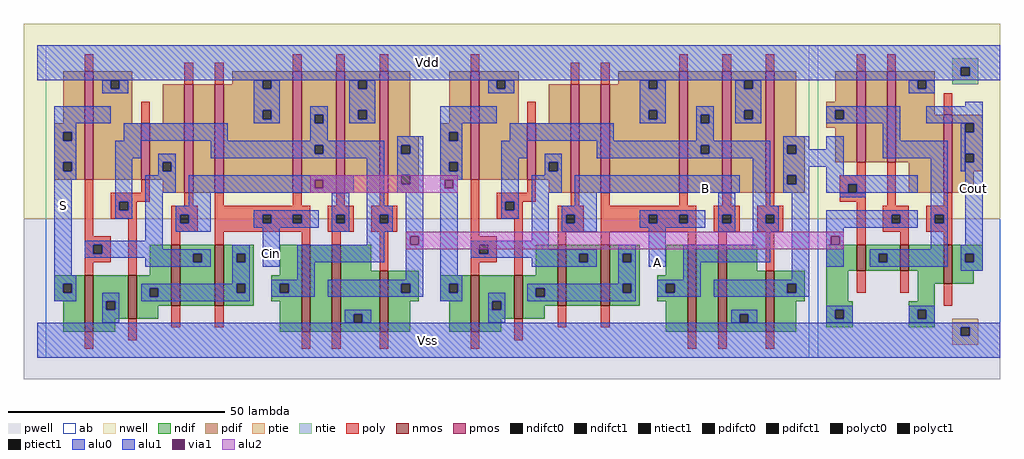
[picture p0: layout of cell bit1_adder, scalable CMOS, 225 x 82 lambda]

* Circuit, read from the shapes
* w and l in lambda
.subckt bit1_adder A B Cin Cout S Vdd Vss
M1 Vss n1 S Vss nfet w=13 l=2
M2 n2 n3 Vss Vss nfet w=10 l=2
M3 n1 n4 n2 Vss nfet w=14 l=2
M4 n2 Cin n1 Vss nfet w=14 l=2
M5 n5 Cin n3 Vss nfet w=20 l=2
M6 Vss n4 n5 Vss nfet w=20 l=2
M7 n6 n3 Vss Vss nfet w=14 l=2
M8 Vss n7 n4 Vss nfet w=13 l=2
M9 n8 n9 Vss Vss nfet w=10 l=2
M10 n7 B n8 Vss nfet w=14 l=2
M11 n8 A n7 Vss nfet w=14 l=2
M12 n10 A n9 Vss nfet w=20 l=2
M13 Vss B n10 Vss nfet w=20 l=2
M14 n11 n9 Vss Vss nfet w=14 l=2
M15 n12 n11 Vss Vss nfet w=6 l=2
M16 Vss n6 n12 Vss nfet w=6 l=2
M17 Cout n12 Vss Vss nfet w=9 l=2
M18 Vdd n1 S Vdd pfet w=25 l=2
M19 n1 n3 Vdd Vdd pfet w=13 l=2
M20 n13 n4 n1 Vdd pfet w=25 l=2
M21 Vdd Cin n13 Vdd pfet w=25 l=2
M22 n3 Cin Vdd Vdd pfet w=28 l=2
M23 Vdd n4 n3 Vdd pfet w=28 l=2
M24 n6 n3 Vdd Vdd pfet w=28 l=2
M25 Vdd n7 n4 Vdd pfet w=25 l=2
M26 n7 n9 Vdd Vdd pfet w=13 l=2
M27 n14 B n7 Vdd pfet w=25 l=2
M28 Vdd A n14 Vdd pfet w=25 l=2
M29 n9 A Vdd Vdd pfet w=28 l=2
M30 Vdd B n9 Vdd pfet w=28 l=2
M31 n11 n9 Vdd Vdd pfet w=28 l=2
M32 n15 n11 n12 Vdd pfet w=21 l=2
M33 Vdd n6 n15 Vdd pfet w=21 l=2
M34 Cout n12 Vdd Vdd pfet w=18 l=2
.ends

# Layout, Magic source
magic
tech scmos
<< ab >>
rect 5 5 181 77
rect 183 5 225 77
<< nwell >>
rect 0 37 225 82
<< pwell >>
rect 0 0 225 37
<< poly >>
rect 14 71 16 75
rect 37 68 39 73
rect 44 68 46 73
rect 62 71 64 75
rect 72 71 74 75
rect 82 71 84 75
rect 103 71 105 75
rect 27 59 29 64
rect 14 33 16 46
rect 27 43 29 46
rect 126 68 128 73
rect 133 68 135 73
rect 151 71 153 75
rect 161 71 163 75
rect 171 71 173 75
rect 192 71 194 75
rect 199 71 201 75
rect 116 59 118 64
rect 20 41 29 43
rect 20 39 22 41
rect 24 39 26 41
rect 37 40 39 43
rect 44 40 46 43
rect 62 40 64 43
rect 72 40 74 43
rect 82 40 84 43
rect 20 37 26 39
rect 14 31 20 33
rect 14 29 16 31
rect 18 29 20 31
rect 14 27 20 29
rect 14 24 16 27
rect 24 24 26 37
rect 34 38 40 40
rect 34 36 36 38
rect 38 36 40 38
rect 34 34 40 36
rect 44 38 66 40
rect 44 36 55 38
rect 57 36 62 38
rect 64 36 66 38
rect 44 34 66 36
rect 70 38 76 40
rect 70 36 72 38
rect 74 36 76 38
rect 70 34 76 36
rect 80 38 86 40
rect 80 36 82 38
rect 84 36 86 38
rect 80 34 86 36
rect 34 31 36 34
rect 44 31 46 34
rect 64 31 66 34
rect 71 31 73 34
rect 14 7 16 11
rect 24 9 26 14
rect 34 12 36 17
rect 44 12 46 17
rect 82 25 84 34
rect 103 33 105 46
rect 116 43 118 46
rect 212 61 214 66
rect 192 47 194 50
rect 188 45 194 47
rect 188 43 190 45
rect 192 43 194 45
rect 109 41 118 43
rect 109 39 111 41
rect 113 39 115 41
rect 126 40 128 43
rect 133 40 135 43
rect 151 40 153 43
rect 161 40 163 43
rect 171 40 173 43
rect 188 41 194 43
rect 109 37 115 39
rect 103 31 109 33
rect 103 29 105 31
rect 107 29 109 31
rect 103 27 109 29
rect 103 24 105 27
rect 113 24 115 37
rect 123 38 129 40
rect 123 36 125 38
rect 127 36 129 38
rect 123 34 129 36
rect 133 38 155 40
rect 133 36 144 38
rect 146 36 151 38
rect 153 36 155 38
rect 133 34 155 36
rect 159 38 165 40
rect 159 36 161 38
rect 163 36 165 38
rect 159 34 165 36
rect 169 38 175 40
rect 169 36 171 38
rect 173 36 175 38
rect 169 34 175 36
rect 123 31 125 34
rect 133 31 135 34
rect 153 31 155 34
rect 160 31 162 34
rect 64 7 66 11
rect 71 7 73 11
rect 82 7 84 11
rect 103 7 105 11
rect 113 9 115 14
rect 123 12 125 17
rect 133 12 135 17
rect 171 25 173 34
rect 192 31 194 41
rect 199 40 201 50
rect 212 40 214 43
rect 198 38 204 40
rect 198 36 200 38
rect 202 36 204 38
rect 198 34 204 36
rect 208 38 214 40
rect 208 36 210 38
rect 212 36 214 38
rect 208 34 214 36
rect 202 31 204 34
rect 212 31 214 34
rect 192 20 194 25
rect 202 20 204 25
rect 212 17 214 22
rect 153 7 155 11
rect 160 7 162 11
rect 171 7 173 11
<< ndif >>
rect 29 24 34 31
rect 7 22 14 24
rect 7 20 9 22
rect 11 20 14 22
rect 7 18 14 20
rect 9 11 14 18
rect 16 18 24 24
rect 16 16 19 18
rect 21 16 24 18
rect 16 14 24 16
rect 26 21 34 24
rect 26 19 29 21
rect 31 19 34 21
rect 26 17 34 19
rect 36 29 44 31
rect 36 27 39 29
rect 41 27 44 29
rect 36 17 44 27
rect 46 29 53 31
rect 46 27 49 29
rect 51 27 53 29
rect 46 22 53 27
rect 59 24 64 31
rect 46 20 49 22
rect 51 20 53 22
rect 46 17 53 20
rect 57 22 64 24
rect 57 20 59 22
rect 61 20 64 22
rect 57 18 64 20
rect 26 14 31 17
rect 16 11 21 14
rect 59 11 64 18
rect 66 11 71 31
rect 73 25 80 31
rect 73 15 82 25
rect 73 13 76 15
rect 78 13 82 15
rect 73 11 82 13
rect 84 22 91 25
rect 118 24 123 31
rect 84 20 87 22
rect 89 20 91 22
rect 84 18 91 20
rect 96 22 103 24
rect 96 20 98 22
rect 100 20 103 22
rect 96 18 103 20
rect 84 11 89 18
rect 98 11 103 18
rect 105 18 113 24
rect 105 16 108 18
rect 110 16 113 18
rect 105 14 113 16
rect 115 21 123 24
rect 115 19 118 21
rect 120 19 123 21
rect 115 17 123 19
rect 125 29 133 31
rect 125 27 128 29
rect 130 27 133 29
rect 125 17 133 27
rect 135 29 142 31
rect 135 27 138 29
rect 140 27 142 29
rect 135 22 142 27
rect 148 24 153 31
rect 135 20 138 22
rect 140 20 142 22
rect 135 17 142 20
rect 146 22 153 24
rect 146 20 148 22
rect 150 20 153 22
rect 146 18 153 20
rect 115 14 120 17
rect 105 11 110 14
rect 148 11 153 18
rect 155 11 160 31
rect 162 25 169 31
rect 185 25 192 31
rect 194 29 202 31
rect 194 27 197 29
rect 199 27 202 29
rect 194 25 202 27
rect 204 25 212 31
rect 162 15 171 25
rect 162 13 165 15
rect 167 13 171 15
rect 162 11 171 13
rect 173 22 180 25
rect 173 20 176 22
rect 178 20 180 22
rect 173 18 180 20
rect 185 18 190 25
rect 206 22 212 25
rect 214 29 221 31
rect 214 27 217 29
rect 219 27 221 29
rect 214 25 221 27
rect 214 22 219 25
rect 206 18 210 22
rect 173 11 178 18
rect 185 16 191 18
rect 185 14 187 16
rect 189 14 191 16
rect 185 12 191 14
rect 204 16 210 18
rect 204 14 206 16
rect 208 14 210 16
rect 204 12 210 14
<< pdif >>
rect 9 59 14 71
rect 7 57 14 59
rect 7 55 9 57
rect 11 55 14 57
rect 7 50 14 55
rect 7 48 9 50
rect 11 48 14 50
rect 7 46 14 48
rect 16 69 25 71
rect 16 67 20 69
rect 22 67 25 69
rect 48 69 62 71
rect 48 68 55 69
rect 16 59 25 67
rect 32 59 37 68
rect 16 46 27 59
rect 29 50 37 59
rect 29 48 32 50
rect 34 48 37 50
rect 29 46 37 48
rect 32 43 37 46
rect 39 43 44 68
rect 46 67 55 68
rect 57 67 62 69
rect 46 62 62 67
rect 46 60 55 62
rect 57 60 62 62
rect 46 43 62 60
rect 64 61 72 71
rect 64 59 67 61
rect 69 59 72 61
rect 64 54 72 59
rect 64 52 67 54
rect 69 52 72 54
rect 64 43 72 52
rect 74 69 82 71
rect 74 67 77 69
rect 79 67 82 69
rect 74 62 82 67
rect 74 60 77 62
rect 79 60 82 62
rect 74 43 82 60
rect 84 56 89 71
rect 98 59 103 71
rect 96 57 103 59
rect 84 54 91 56
rect 84 52 87 54
rect 89 52 91 54
rect 84 47 91 52
rect 84 45 87 47
rect 89 45 91 47
rect 96 55 98 57
rect 100 55 103 57
rect 96 50 103 55
rect 96 48 98 50
rect 100 48 103 50
rect 96 46 103 48
rect 105 69 114 71
rect 105 67 109 69
rect 111 67 114 69
rect 137 69 151 71
rect 137 68 144 69
rect 105 59 114 67
rect 121 59 126 68
rect 105 46 116 59
rect 118 50 126 59
rect 118 48 121 50
rect 123 48 126 50
rect 118 46 126 48
rect 84 43 91 45
rect 121 43 126 46
rect 128 43 133 68
rect 135 67 144 68
rect 146 67 151 69
rect 135 62 151 67
rect 135 60 144 62
rect 146 60 151 62
rect 135 43 151 60
rect 153 61 161 71
rect 153 59 156 61
rect 158 59 161 61
rect 153 54 161 59
rect 153 52 156 54
rect 158 52 161 54
rect 153 43 161 52
rect 163 69 171 71
rect 163 67 166 69
rect 168 67 171 69
rect 163 62 171 67
rect 163 60 166 62
rect 168 60 171 62
rect 163 43 171 60
rect 173 56 178 71
rect 187 64 192 71
rect 185 62 192 64
rect 185 60 187 62
rect 189 60 192 62
rect 185 58 192 60
rect 173 54 180 56
rect 173 52 176 54
rect 178 52 180 54
rect 173 47 180 52
rect 187 50 192 58
rect 194 50 199 71
rect 201 69 210 71
rect 201 67 206 69
rect 208 67 210 69
rect 201 61 210 67
rect 201 50 212 61
rect 173 45 176 47
rect 178 45 180 47
rect 173 43 180 45
rect 204 43 212 50
rect 214 59 221 61
rect 214 57 217 59
rect 219 57 221 59
rect 214 52 221 57
rect 214 50 217 52
rect 219 50 221 52
rect 214 48 221 50
rect 214 43 219 48
<< alu1 >>
rect 3 72 225 77
rect 3 70 216 72
rect 218 70 225 72
rect 3 69 225 70
rect 7 59 20 63
rect 96 59 109 63
rect 217 63 221 64
rect 208 59 221 63
rect 7 57 12 59
rect 7 55 9 57
rect 11 55 12 57
rect 96 57 101 59
rect 7 50 12 55
rect 7 48 9 50
rect 11 48 12 50
rect 7 46 12 48
rect 7 24 11 46
rect 38 46 76 47
rect 38 44 67 46
rect 69 44 76 46
rect 38 43 76 44
rect 38 40 43 43
rect 35 38 43 40
rect 35 36 36 38
rect 38 36 43 38
rect 35 34 43 36
rect 53 38 68 39
rect 53 36 55 38
rect 57 36 62 38
rect 64 36 68 38
rect 53 35 68 36
rect 7 22 12 24
rect 55 26 59 35
rect 86 54 92 56
rect 86 52 87 54
rect 89 52 92 54
rect 86 47 92 52
rect 86 45 87 47
rect 89 45 92 47
rect 86 43 92 45
rect 88 33 92 43
rect 88 31 89 33
rect 91 31 92 33
rect 88 23 92 31
rect 7 20 9 22
rect 11 20 12 22
rect 7 18 12 20
rect 70 22 92 23
rect 70 20 87 22
rect 89 20 92 22
rect 70 19 92 20
rect 96 55 98 57
rect 100 55 101 57
rect 96 50 101 55
rect 96 48 98 50
rect 100 48 101 50
rect 96 46 101 48
rect 96 44 97 46
rect 99 44 100 46
rect 96 24 100 44
rect 127 43 165 47
rect 127 40 132 43
rect 124 38 132 40
rect 124 36 125 38
rect 127 36 132 38
rect 124 34 132 36
rect 142 38 157 39
rect 142 36 144 38
rect 146 36 151 38
rect 153 36 157 38
rect 142 35 157 36
rect 96 22 101 24
rect 144 26 148 35
rect 175 54 181 56
rect 175 52 176 54
rect 178 53 181 54
rect 185 53 189 56
rect 178 52 189 53
rect 175 49 189 52
rect 175 47 181 49
rect 175 45 176 47
rect 178 45 181 47
rect 175 43 181 45
rect 185 47 189 49
rect 185 45 206 47
rect 185 43 190 45
rect 192 43 206 45
rect 177 23 181 43
rect 185 38 206 39
rect 185 36 200 38
rect 202 36 206 38
rect 185 35 206 36
rect 219 57 221 59
rect 217 52 221 57
rect 219 50 221 52
rect 185 33 189 35
rect 185 31 186 33
rect 188 31 189 33
rect 185 26 189 31
rect 217 31 221 50
rect 216 29 221 31
rect 216 27 217 29
rect 219 27 221 29
rect 216 25 221 27
rect 96 20 98 22
rect 100 20 101 22
rect 96 18 101 20
rect 159 22 181 23
rect 159 20 176 22
rect 178 20 181 22
rect 159 19 181 20
rect 3 12 225 13
rect 3 10 216 12
rect 218 10 225 12
rect 3 5 225 10
<< alu2 >>
rect 66 46 100 47
rect 66 44 67 46
rect 69 44 97 46
rect 99 44 100 46
rect 66 43 100 44
rect 88 33 189 34
rect 88 31 89 33
rect 91 31 186 33
rect 188 31 189 33
rect 88 30 189 31
<< ptie >>
rect 214 12 220 14
rect 214 10 216 12
rect 218 10 220 12
rect 214 8 220 10
<< ntie >>
rect 214 72 220 74
rect 214 70 216 72
rect 218 70 220 72
rect 214 68 220 70
<< nmos >>
rect 14 11 16 24
rect 24 14 26 24
rect 34 17 36 31
rect 44 17 46 31
rect 64 11 66 31
rect 71 11 73 31
rect 82 11 84 25
rect 103 11 105 24
rect 113 14 115 24
rect 123 17 125 31
rect 133 17 135 31
rect 153 11 155 31
rect 160 11 162 31
rect 192 25 194 31
rect 202 25 204 31
rect 171 11 173 25
rect 212 22 214 31
<< pmos >>
rect 14 46 16 71
rect 27 46 29 59
rect 37 43 39 68
rect 44 43 46 68
rect 62 43 64 71
rect 72 43 74 71
rect 82 43 84 71
rect 103 46 105 71
rect 116 46 118 59
rect 126 43 128 68
rect 133 43 135 68
rect 151 43 153 71
rect 161 43 163 71
rect 171 43 173 71
rect 192 50 194 71
rect 199 50 201 71
rect 212 43 214 61
<< polyct0 >>
rect 22 39 24 41
rect 16 29 18 31
rect 72 36 74 38
rect 82 36 84 38
rect 111 39 113 41
rect 105 29 107 31
rect 161 36 163 38
rect 171 36 173 38
rect 210 36 212 38
<< polyct1 >>
rect 36 36 38 38
rect 55 36 57 38
rect 62 36 64 38
rect 190 43 192 45
rect 125 36 127 38
rect 144 36 146 38
rect 151 36 153 38
rect 200 36 202 38
<< ndifct0 >>
rect 19 16 21 18
rect 29 19 31 21
rect 39 27 41 29
rect 49 27 51 29
rect 49 20 51 22
rect 59 20 61 22
rect 76 13 78 15
rect 108 16 110 18
rect 118 19 120 21
rect 128 27 130 29
rect 138 27 140 29
rect 138 20 140 22
rect 148 20 150 22
rect 197 27 199 29
rect 165 13 167 15
rect 187 14 189 16
rect 206 14 208 16
<< ndifct1 >>
rect 9 20 11 22
rect 87 20 89 22
rect 98 20 100 22
rect 176 20 178 22
rect 217 27 219 29
<< ntiect1 >>
rect 216 70 218 72
<< ptiect1 >>
rect 216 10 218 12
<< pdifct0 >>
rect 20 67 22 69
rect 32 48 34 50
rect 55 67 57 69
rect 55 60 57 62
rect 67 59 69 61
rect 67 52 69 54
rect 77 67 79 69
rect 77 60 79 62
rect 109 67 111 69
rect 121 48 123 50
rect 144 67 146 69
rect 144 60 146 62
rect 156 59 158 61
rect 156 52 158 54
rect 166 67 168 69
rect 166 60 168 62
rect 187 60 189 62
rect 206 67 208 69
<< pdifct1 >>
rect 9 55 11 57
rect 9 48 11 50
rect 87 52 89 54
rect 87 45 89 47
rect 98 55 100 57
rect 98 48 100 50
rect 176 52 178 54
rect 176 45 178 47
rect 217 57 219 59
rect 217 50 219 52
<< alu0 >>
rect 18 67 20 69
rect 22 67 24 69
rect 18 66 24 67
rect 53 67 55 69
rect 57 67 59 69
rect 53 62 59 67
rect 75 67 77 69
rect 79 67 81 69
rect 53 60 55 62
rect 57 60 59 62
rect 53 59 59 60
rect 66 61 70 63
rect 66 59 67 61
rect 69 59 70 61
rect 75 62 81 67
rect 107 67 109 69
rect 111 67 113 69
rect 107 66 113 67
rect 142 67 144 69
rect 146 67 148 69
rect 75 60 77 62
rect 79 60 81 62
rect 75 59 81 60
rect 142 62 148 67
rect 164 67 166 69
rect 168 67 170 69
rect 142 60 144 62
rect 146 60 148 62
rect 142 59 148 60
rect 155 61 159 63
rect 155 59 156 61
rect 158 59 159 61
rect 164 62 170 67
rect 204 67 206 69
rect 208 67 210 69
rect 204 66 210 67
rect 164 60 166 62
rect 168 60 170 62
rect 164 59 170 60
rect 185 62 202 63
rect 185 60 187 62
rect 189 60 202 62
rect 185 59 202 60
rect 23 55 47 59
rect 66 55 70 59
rect 21 51 27 55
rect 43 54 83 55
rect 43 52 67 54
rect 69 52 83 54
rect 21 41 25 51
rect 31 50 35 52
rect 43 51 83 52
rect 31 48 32 50
rect 34 48 35 50
rect 31 47 35 48
rect 21 39 22 41
rect 24 39 25 41
rect 21 37 25 39
rect 28 43 35 47
rect 28 32 32 43
rect 71 38 75 43
rect 71 36 72 38
rect 74 36 75 38
rect 14 31 32 32
rect 14 29 16 31
rect 18 30 32 31
rect 18 29 43 30
rect 14 28 39 29
rect 28 27 39 28
rect 41 27 43 29
rect 28 26 43 27
rect 48 29 52 31
rect 48 27 49 29
rect 51 27 52 29
rect 48 22 52 27
rect 71 34 75 36
rect 79 40 83 51
rect 79 38 85 40
rect 79 36 82 38
rect 84 36 85 38
rect 79 34 85 36
rect 79 31 83 34
rect 63 27 83 31
rect 63 23 67 27
rect 27 21 49 22
rect 18 18 22 20
rect 27 19 29 21
rect 31 20 49 21
rect 51 20 52 22
rect 31 19 52 20
rect 57 22 67 23
rect 57 20 59 22
rect 61 20 67 22
rect 57 19 67 20
rect 112 55 136 59
rect 155 55 159 59
rect 110 51 116 55
rect 132 54 172 55
rect 132 52 156 54
rect 158 52 172 54
rect 110 41 114 51
rect 120 50 124 52
rect 132 51 172 52
rect 120 48 121 50
rect 123 48 124 50
rect 120 47 124 48
rect 110 39 111 41
rect 113 39 114 41
rect 110 37 114 39
rect 117 43 124 47
rect 117 32 121 43
rect 160 38 164 43
rect 160 36 161 38
rect 163 36 164 38
rect 103 31 121 32
rect 103 29 105 31
rect 107 30 121 31
rect 107 29 132 30
rect 103 28 128 29
rect 117 27 128 28
rect 130 27 132 29
rect 117 26 132 27
rect 137 29 141 31
rect 137 27 138 29
rect 140 27 141 29
rect 137 22 141 27
rect 160 34 164 36
rect 168 40 172 51
rect 198 55 202 59
rect 198 51 213 55
rect 168 38 174 40
rect 168 36 171 38
rect 173 36 174 38
rect 168 34 174 36
rect 168 31 172 34
rect 152 27 172 31
rect 152 23 156 27
rect 188 42 194 43
rect 209 38 213 51
rect 216 48 217 59
rect 209 36 210 38
rect 212 36 213 38
rect 209 30 213 36
rect 195 29 213 30
rect 195 27 197 29
rect 199 27 213 29
rect 195 26 213 27
rect 116 21 138 22
rect 27 18 52 19
rect 107 18 111 20
rect 116 19 118 21
rect 120 20 138 21
rect 140 20 141 22
rect 120 19 141 20
rect 146 22 156 23
rect 146 20 148 22
rect 150 20 156 22
rect 146 19 156 20
rect 116 18 141 19
rect 18 16 19 18
rect 21 16 22 18
rect 107 16 108 18
rect 110 16 111 18
rect 185 16 191 17
rect 18 13 22 16
rect 74 15 80 16
rect 74 13 76 15
rect 78 13 80 15
rect 107 13 111 16
rect 163 15 169 16
rect 163 13 165 15
rect 167 13 169 15
rect 185 14 187 16
rect 189 14 191 16
rect 185 13 191 14
rect 204 16 210 17
rect 204 14 206 16
rect 208 14 210 16
rect 204 13 210 14
<< via1 >>
rect 67 44 69 46
rect 89 31 91 33
rect 97 44 99 46
rect 186 31 188 33
<< labels >>
rlabel alu1 57 29 57 29 1 Cin
rlabel alu1 9 40 9 40 1 S
rlabel alu1 93 9 93 9 1 Vss
rlabel alu1 93 73 93 73 1 Vdd
rlabel alu1 219 44 219 44 1 Cout
rlabel alu1 146 27 146 27 1 A
rlabel alu1 157 44 157 44 1 B
<< end >>
